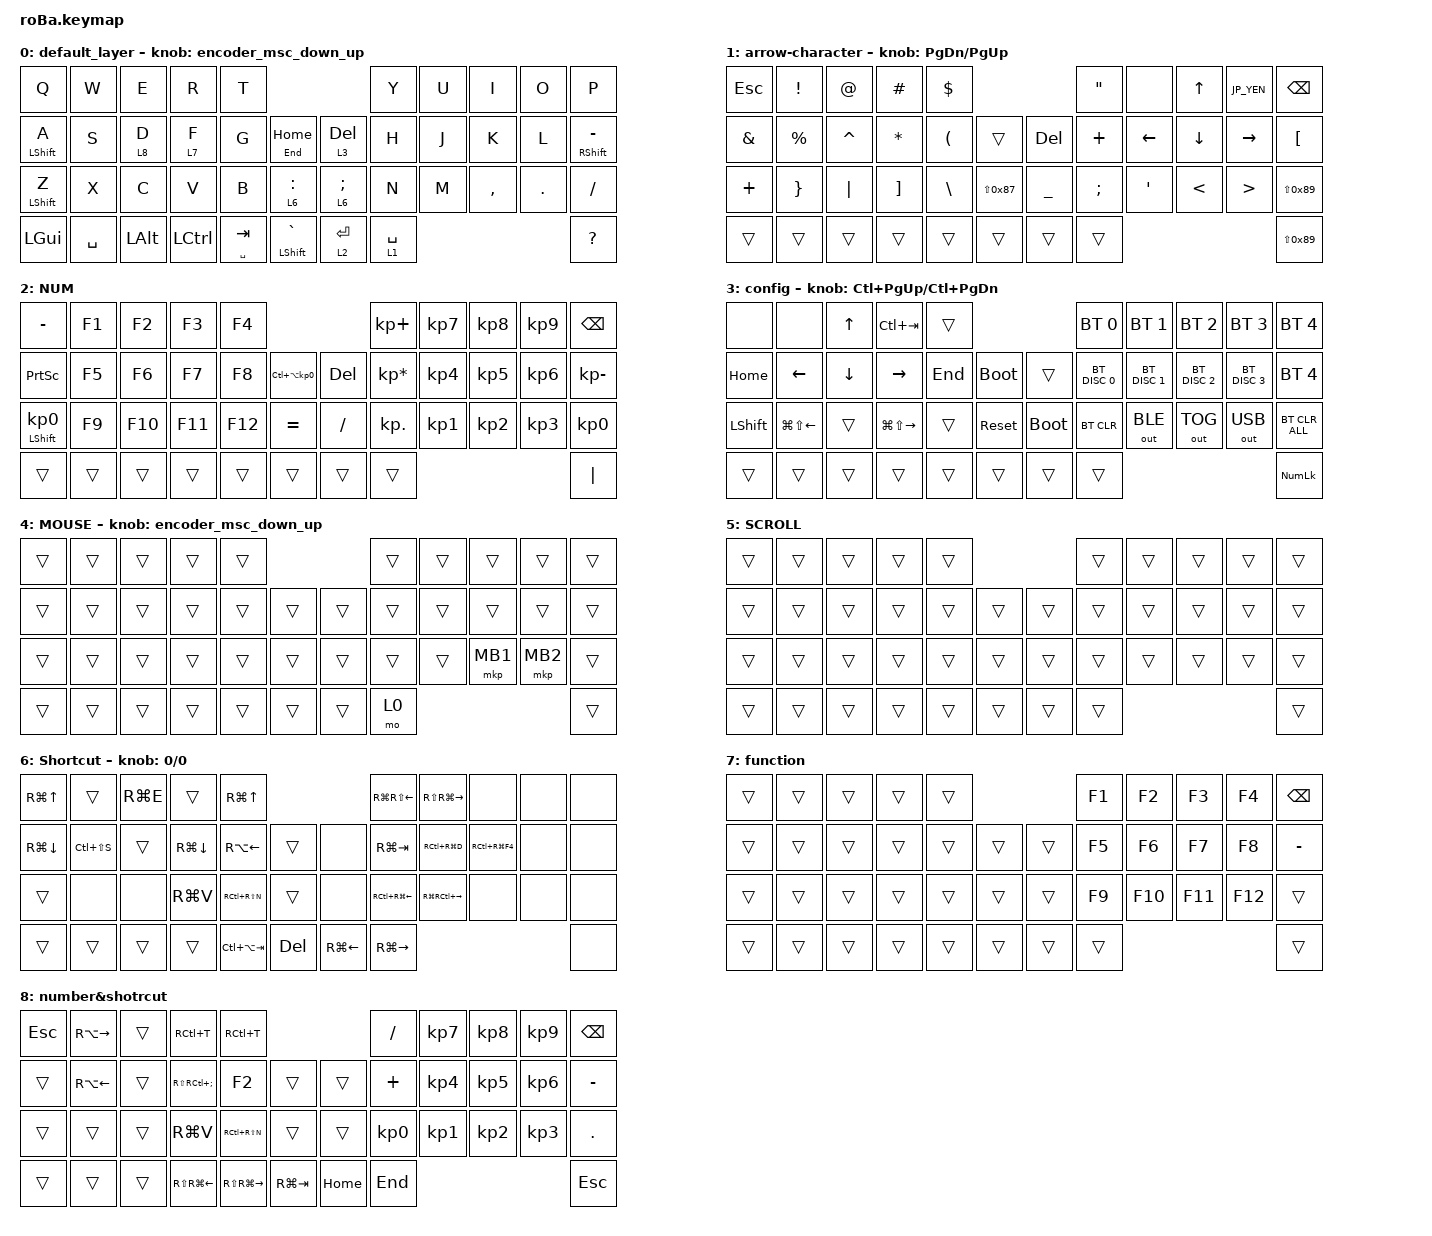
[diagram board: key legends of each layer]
#include <input/processors.dtsi>
#include <input/processors.dtsi>
#include <behaviors.dtsi>
#include <dt-bindings/zmk/bt.h>
#include <dt-bindings/zmk/keys.h>
#include <dt-bindings/zmk/outputs.h>
#include <dt-bindings/zmk/pointing.h>

#define SCROLL 5
#define NUM 3
#define MOUSE 4 // 各自のマウスレイヤーに合わせて設定


// OS設定を日本語キーボードのまま使用するための変換定義

#define JP_DQUOTE       AT                // "
#define JP_AMPERSAND    CARET             // &
#define JP_QUOTE        AMPERSAND         // '
#define JP_EQUAL        UNDER             // =
#define JP_CARET        EQUAL             // ^
#define JP_YEN          0x89              // ¥
#define JP_PLUS         COLON             // +
#define JP_TILDE        PLUS              // ~
#define JP_PIPE         LS(0x89)          // |
#define JP_AT           LEFT_BRACKET      // @
#define JP_COLON        SINGLE_QUOTE      // :
#define JP_ASTERISK     DOUBLE_QUOTES     // *
#define JP_BACKQUOTE    LEFT_BRACE        // `
#define JP_UNDERSCORE   LS(0x87)          // _
#define JP_LBRACKET     RIGHT_BRACKET     // [
#define JP_RBRACKET     BACKSLASH         // ]
#define JP_LPAREN       ASTERISK          // (
#define JP_RPAREN       LEFT_PARENTHESIS  // )
#define JP_LBRACE       RIGHT_BRACE       // {
#define JP_RBRACE       PIPE              // }
#define JP_KANA         LANGUAGE_1        // かな
#define JP_EISU         LANGUAGE_2        // 英数
#define JP_HANZEN       GRAVE             // 半角/全角

// #includeのあとのあたりにスクロール量変更の定義を追記

#undef ZMK_POINTING_DEFAULT_SCRL_VAL

#define ZMK_POINTING_DEFAULT_SCRL_VAL 80


&mt {
    flavor = "balanced";
    quick-tap-ms = <0>;
};

// automouse-layer / scroll-layers は旧 PMW3610 ドライバ用のため削除。
// DYA Studio 対応後は roBa_R.overlay のランタイム入力プロセッサ (temp-layer) で制御する。

/ {
    combos {
        compatible = "zmk,combos";

        scrool {
            bindings = <&mo 5>;
            key-positions = <32 31>;
        };

        esc {
            bindings = <&kp ESC>;
            key-positions = <0 1>;
        };
    };

    // combosやmacrosと同じ階層に以下のbihaviorsを追記
    // スクロール方向を逆にしたい場合は <&msc SCRL_DOWN> と <&msc SCRL_UP> を入れ替えてください

    behaviors {
        encoder_msc_down_up: encoder_msc_down_up {
            compatible = "zmk,behavior-sensor-rotate";
            label = "ENCODER_MSC_DOWN_UP";
            #sensor-binding-cells = <0>;
            bindings = <&msc SCRL_DOWN>, <&msc SCRL_UP>;

            tap-ms = <20>;
        };

        tog_off: toggle_layer_off {
            compatible = "zmk,behavior-toggle-layer";
            #binding-cells = <1>;
            display-name = "Toggle Layer Off";
            toggle-mode = "off";
        };

        mt_exit_AML_on_tap: mt_exit_AML_on_tap {
            compatible = "zmk,behavior-hold-tap";
            label = "MT_exit_AML_ON_TAP";
            bindings = <&kp>, <&kp_exit_AML>;

            #binding-cells = <2>;
            tapping-term-ms = <200>;
            flavor = "balanced";
            quick-tap-ms = <200>;
        };

        // シングル・ダブルタップでの全角半角切り替えビヘイビア
    };

    macros {
        exit_AML: exit_AML {
            compatible = "zmk,behavior-macro";
            wait-ms = <0>;
            tap-ms = <0>;
            #binding-cells = <0>;
            bindings = <&tog_off 0>;
            label = "exit_AML";
        };

        kp_exit_AML: kp_exit_AML {
            compatible = "zmk,behavior-macro-one-param";
            wait-ms = <0>;
            tap-ms = <0>;
            #binding-cells = <1>;
            bindings = <&macro_param_1to1 &kp MACRO_PLACEHOLDER &exit_AML>;
            label = "KP_exit_AML";
        };

        // シングル・ダブルタップでの全角半角切り替えマクロ
    };

    keymap {
        compatible = "zmk,keymap";

        default_layer {
            bindings = <
&kp Q             &kp W      &kp E         &kp R             &kp T                                                  &kp Y        &kp U  &kp I      &kp O       &kp P
&mt LSHIFT A      &kp S      &lt 8 D       &lt 7 F           &kp G          &mt END HOME              &lt 3 DELETE  &kp H        &kp J  &kp K      &kp L       &mt RIGHT_SHIFT MINUS
&mt LEFT_SHIFT Z  &kp X      &kp C         &kp V             &kp B          &lt 6 COLON               &lt 6 SEMI    &kp N        &kp M  &kp COMMA  &kp PERIOD  &kp SLASH
&kp LEFT_GUI      &kp SPACE  &kp LEFT_ALT  &kp LEFT_CONTROL  &mt SPACE TAB  &mt LEFT_SHIFT GRAVE      &lt 2 ENTER   &lt 1 SPACE                                &kp QUESTION
            >;

            sensor-bindings = <&encoder_msc_down_up>;
        };

        arrow-character {
            bindings = <
&kp ESC        &kp EXCLAMATION  &kp AT_SIGN  &kp HASH           &kp DOLLAR                                               &kp DOUBLE_QUOTES  &none             &kp UP_ARROW   &kp JP_YEN        &kp BACKSPACE
&kp AMPERSAND  &kp PERCENT      &kp CARET    &kp ASTERISK       &kp LEFT_PARENTHESIS  &trans                 &kp DELETE  &kp PLUS           &kp LEFT_ARROW    &kp DOWN       &kp RIGHT         &kp LEFT_BRACKET
&kp PLUS       &kp RIGHT_BRACE  &kp PIPE     &kp RIGHT_BRACKET  &kp BACKSLASH         &kp JP_UNDERSCORE      &kp UNDER   &kp SEMI           &kp SINGLE_QUOTE  &kp LESS_THAN  &kp GREATER_THAN  &kp JP_PIPE
&trans         &trans           &trans       &trans             &trans                &trans                 &trans      &trans                                                                &kp JP_PIPE
            >;

            sensor-bindings = <&inc_dec_kp PAGE_DOWN PAGE_UP>;
        };

        NUM {
            bindings = <
&kp MINUS                   &kp F1  &kp F2   &kp F3   &kp F4                                            &kp KP_PLUS      &kp KP_NUMBER_7  &kp KP_NUMBER_8  &kp KP_NUMBER_9  &kp BACKSPACE
&kp PRINTSCREEN             &kp F5  &kp F6   &kp F7   &kp F8   &kp LC(LA(KP_NUMBER_0))      &kp DELETE  &kp KP_ASTERISK  &kp KP_NUMBER_4  &kp KP_NUMBER_5  &kp KP_NUMBER_6  &kp KP_MINUS
&mt LEFT_SHIFT KP_NUMBER_0  &kp F9  &kp F10  &kp F11  &kp F12  &kp EQUAL                    &kp SLASH   &kp KP_DOT       &kp KP_NUMBER_1  &kp KP_NUMBER_2  &kp KP_NUMBER_3  &kp KP_NUMBER_0
&trans                      &trans  &trans   &trans   &trans   &trans                       &trans      &trans                                                              &kp PIPE
            >;
        };

        config {
            bindings = <
&none           &none                   &kp UP_ARROW    &kp LC(TAB)              &trans                                 &bt BT_SEL 0   &bt BT_SEL 1   &bt BT_SEL 2   &bt BT_SEL 3   &bt BT_SEL 4
&kp HOME        &kp LEFT_ARROW          &kp DOWN_ARROW  &kp RIGHT_ARROW          &kp END  &bootloader      &trans       &bt BT_DISC 0  &bt BT_DISC 1  &bt BT_DISC 2  &bt BT_DISC 3  &bt BT_SEL 4
&kp LEFT_SHIFT  &kp LG(LS(LEFT_ARROW))  &trans          &kp LG(LS(RIGHT_ARROW))  &trans   &sys_reset       &bootloader  &bt BT_CLR     &out OUT_BLE   &out OUT_TOG   &out OUT_USB   &bt BT_CLR_ALL
&trans          &trans                  &trans          &trans                   &trans   &trans           &trans       &trans                                                      &kp KP_NUMLOCK
            >;

            sensor-bindings = <&inc_dec_kp LC(PAGE_UP) LC(PAGE_DOWN)>;
        };

        MOUSE {
            bindings = <
&trans  &trans  &trans  &trans  &trans                      &trans  &trans  &trans    &trans    &trans
&trans  &trans  &trans  &trans  &trans  &trans      &trans  &trans  &trans  &trans    &trans    &trans
&trans  &trans  &trans  &trans  &trans  &trans      &trans  &trans  &trans  &mkp MB1  &mkp MB2  &trans
&trans  &trans  &trans  &trans  &trans  &trans      &trans  &mo 0                               &trans
            >;

            sensor-bindings = <&encoder_msc_down_up>;
        };

        SCROLL {
            bindings = <
&trans  &trans  &trans  &trans  &trans                      &trans  &trans  &trans  &trans  &trans
&trans  &trans  &trans  &trans  &trans  &trans      &trans  &trans  &trans  &trans  &trans  &trans
&trans  &trans  &trans  &trans  &trans  &trans      &trans  &trans  &trans  &trans  &trans  &trans
&trans  &trans  &trans  &trans  &trans  &trans      &trans  &trans                          &trans
            >;
        };

        Shortcut {
            bindings = <
&kp RG(UP_ARROW)    &trans         &kp RG(E)  &trans              &kp RG(UP_ARROW)                             &kp RG(RS(LEFT))  &kp RS(RG(RIGHT))  &none           &none  &none
&kp RG(DOWN_ARROW)  &kp LC(LS(S))  &trans     &kp RG(DOWN_ARROW)  &kp RA(LEFT)      &trans       &none         &kp RG(TAB)       &kp RC(RG(D))      &kp RC(RG(F4))  &none  &none
&trans              &none          &none      &kp RG(V)           &kp RC(RS(N))     &trans       &none         &kp RC(RG(LEFT))  &kp RG(RC(RIGHT))  &none           &none  &none
&trans              &trans         &trans     &trans              &kp LC(LA(TAB))   &kp DEL      &kp RG(LEFT)  &kp RG(RIGHT)                                               &none
            >;

            sensor-bindings = <&inc_dec_kp 0 0>;
        };

        layer_7 {
            bindings = <
&trans  &trans  &trans  &trans  &trans                      &kp F1  &kp F2   &kp F3   &kp F4   &kp BSPC
&trans  &trans  &trans  &trans  &trans  &trans      &trans  &kp F5  &kp F6   &kp F7   &kp F8   &kp MINUS
&trans  &trans  &trans  &trans  &trans  &trans      &trans  &kp F9  &kp F10  &kp F11  &kp F12  &trans
&trans  &trans  &trans  &trans  &trans  &trans      &trans  &trans                             &trans
            >;

            label = "function";
        };

        layer_8 {
            bindings = <
&kp ESC  &kp RA(RIGHT)       &trans  &kp RC(T)               &kp RC(T)                                     &kp SLASH        &kp KP_NUMBER_7  &kp KP_NUMBER_8  &kp KP_NUMBER_9  &kp BACKSPACE
&trans   &kp RA(LEFT_ARROW)  &trans  &kp RS(RC(SEMICOLON))   &kp F2             &trans           &trans    &kp PLUS         &kp KP_NUMBER_4  &kp KP_NUMBER_5  &kp KP_NUMBER_6  &kp MINUS
&trans   &trans              &trans  &kp RG(V)               &kp RC(RS(N))      &trans           &trans    &kp KP_NUMBER_0  &kp KP_NUMBER_1  &kp KP_NUMBER_2  &kp KP_NUMBER_3  &kp PERIOD
&trans   &trans              &trans  &kp RS(RG(LEFT_ARROW))  &kp RS(RG(RIGHT))  &kp RG(TAB)      &kp HOME  &kp END                                                             &kp ESC
            >;

            label = "number&shotrcut";
        };

        // シングル・ダブルタップでの全角半角切り替え
    };
};
